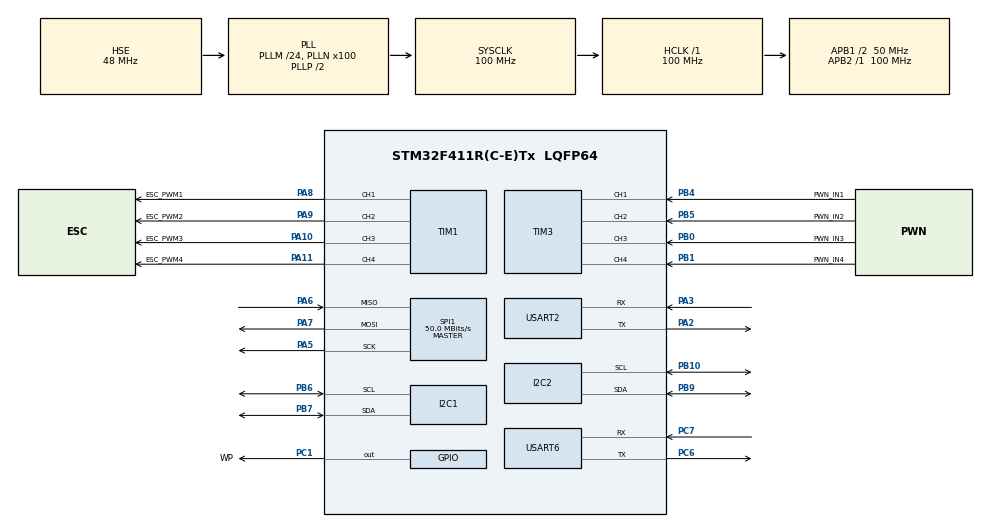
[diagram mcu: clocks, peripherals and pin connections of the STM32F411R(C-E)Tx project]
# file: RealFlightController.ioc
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Dma.Request0=TIM3_CH1/TRIG
Dma.Request1=TIM3_CH2
Dma.Request2=TIM3_CH3
Dma.Request3=TIM3_CH4/UP
Dma.TIM3_CH1/TRIG.0.Direction=DMA_PERIPH_TO_MEMORY
Dma.TIM3_CH1/TRIG.0.FIFOMode=DMA_FIFOMODE_DISABLE
Dma.TIM3_CH1/TRIG.0.Instance=DMA1_Stream4
Dma.TIM3_CH1/TRIG.0.MemDataAlignment=DMA_MDATAALIGN_HALFWORD
Dma.TIM3_CH1/TRIG.0.MemInc=DMA_MINC_ENABLE
Dma.TIM3_CH1/TRIG.0.Mode=DMA_CIRCULAR
Dma.TIM3_CH1/TRIG.0.PeriphDataAlignment=DMA_PDATAALIGN_HALFWORD
Dma.TIM3_CH1/TRIG.0.PeriphInc=DMA_PINC_DISABLE
Dma.TIM3_CH1/TRIG.0.Priority=DMA_PRIORITY_LOW
Dma.TIM3_CH2.1.Direction=DMA_PERIPH_TO_MEMORY
Dma.TIM3_CH2.1.FIFOMode=DMA_FIFOMODE_DISABLE
Dma.TIM3_CH2.1.Instance=DMA1_Stream5
Dma.TIM3_CH2.1.MemDataAlignment=DMA_MDATAALIGN_HALFWORD
Dma.TIM3_CH2.1.MemInc=DMA_MINC_ENABLE
Dma.TIM3_CH2.1.Mode=DMA_CIRCULAR
Dma.TIM3_CH2.1.PeriphDataAlignment=DMA_PDATAALIGN_HALFWORD
Dma.TIM3_CH2.1.PeriphInc=DMA_PINC_DISABLE
Dma.TIM3_CH2.1.Priority=DMA_PRIORITY_LOW
Dma.TIM3_CH3.2.Direction=DMA_PERIPH_TO_MEMORY
Dma.TIM3_CH3.2.FIFOMode=DMA_FIFOMODE_DISABLE
Dma.TIM3_CH3.2.Instance=DMA1_Stream7
Dma.TIM3_CH3.2.MemDataAlignment=DMA_MDATAALIGN_HALFWORD
Dma.TIM3_CH3.2.MemInc=DMA_MINC_ENABLE
Dma.TIM3_CH3.2.Mode=DMA_CIRCULAR
Dma.TIM3_CH3.2.PeriphDataAlignment=DMA_PDATAALIGN_HALFWORD
Dma.TIM3_CH3.2.PeriphInc=DMA_PINC_DISABLE
Dma.TIM3_CH3.2.Priority=DMA_PRIORITY_LOW
Dma.TIM3_CH4/UP.3.Direction=DMA_PERIPH_TO_MEMORY
Dma.TIM3_CH4/UP.3.FIFOMode=DMA_FIFOMODE_DISABLE
Dma.TIM3_CH4/UP.3.Instance=DMA1_Stream2
Dma.TIM3_CH4/UP.3.MemDataAlignment=DMA_MDATAALIGN_HALFWORD
Dma.TIM3_CH4/UP.3.MemInc=DMA_MINC_ENABLE
Dma.TIM3_CH4/UP.3.Mode=DMA_CIRCULAR
Dma.TIM3_CH4/UP.3.PeriphDataAlignment=DMA_PDATAALIGN_HALFWORD
Dma.TIM3_CH4/UP.3.PeriphInc=DMA_PINC_DISABLE
Dma.TIM3_CH4/UP.3.Priority=DMA_PRIORITY_LOW
I2C1.I2C_Mode=I2C_Fast
Mcu.Family=STM32F4
Mcu.Name=STM32F411R(C-E)Tx
Mcu.Package=LQFP64
NVIC.DMA1_Stream2_IRQn=true\:0\:0\:false\:false\:true\:false\:true\:true
NVIC.DMA1_Stream4_IRQn=true\:0\:0\:false\:false\:true\:false\:true\:true
NVIC.DMA1_Stream5_IRQn=true\:0\:0\:false\:false\:true\:false\:true\:true
NVIC.DMA1_Stream7_IRQn=true\:0\:0\:false\:false\:true\:false\:true\:true
NVIC.I2C1_ER_IRQn=true\:0\:0\:false\:false\:true\:true\:true\:true
NVIC.I2C1_EV_IRQn=true\:0\:0\:false\:false\:true\:true\:true\:true
NVIC.PriorityGroup=NVIC_PRIORITYGROUP_4
PA10.GPIO_Label=ESC_PWM3
PA10.Signal=S_TIM1_CH3
PA11.GPIO_Label=ESC_PWM4
PA11.Signal=S_TIM1_CH4
PA13.Mode=Trace_Asynchronous_SW
PA13.Signal=SYS_JTMS-SWDIO
PA14.Mode=Trace_Asynchronous_SW
PA14.Signal=SYS_JTCK-SWCLK
PA2.Mode=Asynchronous
PA2.Signal=USART2_TX
PA3.Mode=Asynchronous
PA3.Signal=USART2_RX
PA5.Mode=Full_Duplex_Master
PA5.Signal=SPI1_SCK
PA6.Mode=Full_Duplex_Master
PA6.Signal=SPI1_MISO
PA7.Mode=Full_Duplex_Master
PA7.Signal=SPI1_MOSI
PA8.GPIO_Label=ESC_PWM1
PA8.Signal=S_TIM1_CH1
PA9.GPIO_Label=ESC_PWM2
PA9.Signal=S_TIM1_CH2
PB0.GPIO_Label=PWN_IN3
PB0.Signal=S_TIM3_CH3
PB1.GPIO_Label=PWN_IN4
PB1.Signal=S_TIM3_CH4
PB10.Mode=I2C
PB10.Signal=I2C2_SCL
PB3.Mode=Trace_Asynchronous_SW
PB3.Signal=SYS_JTDO-SWO
PB4.GPIO_Label=PWN_IN1
PB4.Signal=S_TIM3_CH1
PB5.GPIO_Label=PWN_IN2
PB5.Signal=S_TIM3_CH2
PB6.Mode=I2C
PB6.Signal=I2C1_SCL
PB7.Mode=I2C
PB7.Signal=I2C1_SDA
PB9.Mode=I2C
PB9.Signal=I2C2_SDA
PC1.GPIO_Label=WP
PC1.Signal=GPIO_Output
PC6.Mode=Asynchronous
PC6.Signal=USART6_TX
PC7.Mode=Asynchronous
PC7.Signal=USART6_RX
PH0\ -\ OSC_IN.Mode=HSE-External-Clock-Source
PH0\ -\ OSC_IN.Signal=RCC_OSC_IN
PH1\ -\ OSC_OUT.Mode=HSE-External-Clock-Source
PH1\ -\ OSC_OUT.Signal=RCC_OSC_OUT
ProjectManager.HeapSize=0x200
ProjectManager.StackSize=0x400
ProjectManager.TargetToolchain=STM32CubeIDE
RCC.48MHZClocksFreq_Value=50000000
RCC.AHBFreq_Value=100000000
RCC.APB1CLKDivider=RCC_HCLK_DIV2
RCC.APB1Freq_Value=50000000
RCC.APB1TimFreq_Value=100000000
RCC.APB2Freq_Value=100000000
RCC.APB2TimFreq_Value=100000000
RCC.CortexFreq_Value=100000000
RCC.HCLKFreq_Value=100000000
RCC.HSE_VALUE=48000000
RCC.HSI_VALUE=16000000
RCC.LSE_VALUE=32768
RCC.PLLM=24
RCC.PLLN=100
RCC.PLLSourceVirtual=RCC_PLLSOURCE_HSE
RCC.SYSCLKFreq_VALUE=100000000
RCC.SYSCLKSource=RCC_SYSCLKSOURCE_PLLCLK
RCC.VCOOutputFreq_Value=200000000
SH.S_TIM1_CH1.0=TIM1_CH1,PWM Generation1 CH1
SH.S_TIM1_CH2.0=TIM1_CH2,PWM Generation2 CH2
SH.S_TIM1_CH3.0=TIM1_CH3,PWM Generation3 CH3
SH.S_TIM1_CH4.0=TIM1_CH4,PWM Generation4 CH4
SH.S_TIM3_CH1.0=TIM3_CH1,Input_Capture1_from_TI1
SH.S_TIM3_CH2.0=TIM3_CH2,Input_Capture2_from_TI2
SH.S_TIM3_CH3.0=TIM3_CH3,Input_Capture3_from_TI3
SH.S_TIM3_CH4.0=TIM3_CH4,Input_Capture4_from_TI4
SPI1.CalculateBaudRate=50.0 MBits/s
SPI1.Direction=SPI_DIRECTION_2LINES
SPI1.Mode=SPI_MODE_MASTER
SPI1.VirtualType=VM_MASTER
TIM1.Channel-PWM\ Generation1\ CH1=TIM_CHANNEL_1
TIM1.Channel-PWM\ Generation2\ CH2=TIM_CHANNEL_2
TIM1.Channel-PWM\ Generation3\ CH3=TIM_CHANNEL_3
TIM1.Channel-PWM\ Generation4\ CH4=TIM_CHANNEL_4
TIM3.Channel-Input_Capture1_from_TI1=TIM_CHANNEL_1
TIM3.Channel-Input_Capture2_from_TI2=TIM_CHANNEL_2
TIM3.Channel-Input_Capture3_from_TI3=TIM_CHANNEL_3
TIM3.Channel-Input_Capture4_from_TI4=TIM_CHANNEL_4
USART2.VirtualMode=VM_ASYNC
USART6.VirtualMode=VM_ASYNC
VP_TIM1_VS_ClockSourceINT.Mode=Internal
VP_TIM3_VS_ClockSourceINT.Mode=Internal
board=custom

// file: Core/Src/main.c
/* USER CODE BEGIN Header */
/**
  ******************************************************************************
  * @file           : main.c
  * @brief          : Main program body
  ******************************************************************************
  * @attention
  *
  * Copyright (c) 2024 STMicroelectronics.
  * All rights reserved.
  *
  * This software is licensed under terms that can be found in the LICENSE file
  * in the root directory of this software component.
  * If no LICENSE file comes with this software, it is provided AS-IS.
  *
  ******************************************************************************
  */
/* USER CODE END Header */
#include "main.h"

/* USER CODE BEGIN Includes */
#include "ICM20948.h"
#include "BMP280.h"
#include "math.h"
/* USER CODE END Includes */

I2C_HandleTypeDef hi2c1;
I2C_HandleTypeDef hi2c2;

SPI_HandleTypeDef hspi1;

TIM_HandleTypeDef htim1;
TIM_HandleTypeDef htim3;
DMA_HandleTypeDef hdma_tim3_ch1_trig;
DMA_HandleTypeDef hdma_tim3_ch2;
DMA_HandleTypeDef hdma_tim3_ch3;
DMA_HandleTypeDef hdma_tim3_ch4_up;

UART_HandleTypeDef huart2;
UART_HandleTypeDef huart6;

/* USER CODE BEGIN PV */
ICM20948 icm20948;
BMP280 bmp280;

typedef struct PID{
	float kp;
	float ki;
	float kd;

	float e;
	float u;

	float ePrev;
	float eIntegral;
	float dedt;

	float deltaT;

	float setPoint;
}PID;

PID Roll;
PID Pitch;
PID Yaw;
PID Alti;

float dummyRoll = 0;
float dummyPitch = 0;
float dummyYaw = 0;
float dummyAlti = 0;

uint16_t Mfr = 0;
uint16_t Mfl = 0;
uint16_t Mbr = 0;
uint16_t Mbl = 0;

uint16_t Thrust = 0;

/* USER CODE END PV */

void SystemClock_Config(void);
static void MX_GPIO_Init(void);
static void MX_DMA_Init(void);
static void MX_I2C1_Init(void);
static void MX_I2C2_Init(void);
static void MX_TIM1_Init(void);
static void MX_TIM3_Init(void);
static void MX_SPI1_Init(void);
static void MX_USART2_UART_Init(void);
static void MX_USART6_UART_Init(void);
/* USER CODE BEGIN PFP */
void PID_function(PID *Datastruct, float actual);
void MMA();

/* USER CODE END PFP */

int main(void)
{

  /* MCU Configuration--------------------------------------------------------*/

  /* Reset of all peripherals, Initializes the Flash interface and the Systick. */
  HAL_Init();

  /* Configure the system clock */
  SystemClock_Config();

  /* Initialize all configured peripherals */
  MX_GPIO_Init();
  MX_DMA_Init();
  MX_I2C1_Init();
  MX_I2C2_Init();
  MX_TIM1_Init();
  MX_TIM3_Init();
  MX_SPI1_Init();
  MX_USART2_UART_Init();
  MX_USART6_UART_Init();
  /* USER CODE BEGIN 2 */

  //initial setPoint
  Roll.setPoint = 0;
  Pitch.setPoint = 0;
  Yaw.setPoint = 0;
  Alti.setPoint = 0;

  //initial gain for all PID
  Roll.kp = 0;
  Roll.ki = 0;
  Roll.kd = 0;

  Pitch.kp = 0;
  Pitch.ki = 0;
  Pitch.kd = 0;

  Yaw.kp = 0;
  Yaw.ki = 0;
  Yaw.kd = 0;

  Alti.kp = 0;
  Alti.ki = 0;
  Alti.kd = 0;

  //initial output
  Roll.u = 0;
  Pitch.u = 0;
  Yaw.u = 0;
  Alti.u = 0;

  //initail deltaT
  Roll.deltaT = 0.001;
  Pitch.deltaT = 0.001;
  Yaw.deltaT = 0.001;
  Alti.deltaT = 0.001;

  ICM20948_init(&hi2c1);
  AK09916_init(&hi2c1);
  BMP280_init(&hi2c1);

  /* USER CODE END 2 */

  /* Infinite loop */
  while (1)
  {

    /* USER CODE BEGIN 3 */
//	  static uint32_t RollStamp = 0;
//	  static uint32_t PitchStamp = 0;
//	  static uint32_t YawStamp = 0;
//	  static uint32_t AltiStamp = 0;
//
//	  if(HAL_GetTick() >= RollStamp){
//		  RollStamp = HAL_GetTick() + 1;
//
//		  PID_function(&Roll, dummyRoll);
//	  }
//
//	  if(HAL_GetTick() >= PitchStamp){
//		  PitchStamp = HAL_GetTick() + 1;
//
//		  PID_function(&Pitch, dummyPitch);
//	  }
//
//	  if(HAL_GetTick() >= YawStamp){
//		  YawStamp = HAL_GetTick() + 1;
//
//		  PID_function(&Yaw, dummyYaw);
//	  }
//
//	  if(HAL_GetTick() >= AltiStamp){
//		  AltiStamp = HAL_GetTick() + 1;
//
//		  PID_function(&Alti, dummyAlti);
//	  }

	static uint32_t timestamp = 0;
	if (HAL_GetTick() >= timestamp) {
		timestamp = HAL_GetTick() + 1;

		ICM20948_allRead(&hi2c1, &icm20948);
		BMP280_allRead(&hi2c1, &bmp280);
	}
  }
  /* USER CODE END 3 */
}

void SystemClock_Config(void)
{
  RCC_OscInitTypeDef RCC_OscInitStruct = {0};
  RCC_ClkInitTypeDef RCC_ClkInitStruct = {0};

  /** Configure the main internal regulator output voltage
  */
  __HAL_RCC_PWR_CLK_ENABLE();
  __HAL_PWR_VOLTAGESCALING_CONFIG(PWR_REGULATOR_VOLTAGE_SCALE1);

  /** Initializes the RCC Oscillators according to the specified parameters
  * in the RCC_OscInitTypeDef structure.
  */
  RCC_OscInitStruct.OscillatorType = RCC_OSCILLATORTYPE_HSE;
  RCC_OscInitStruct.HSEState = RCC_HSE_BYPASS;
  RCC_OscInitStruct.PLL.PLLState = RCC_PLL_ON;
  RCC_OscInitStruct.PLL.PLLSource = RCC_PLLSOURCE_HSE;
  RCC_OscInitStruct.PLL.PLLM = 24;
  RCC_OscInitStruct.PLL.PLLN = 100;
  RCC_OscInitStruct.PLL.PLLP = RCC_PLLP_DIV2;
  RCC_OscInitStruct.PLL.PLLQ = 4;
  if (HAL_RCC_OscConfig(&RCC_OscInitStruct) != HAL_OK)
  {
    Error_Handler();
  }

  /** Initializes the CPU, AHB and APB buses clocks
  */
  RCC_ClkInitStruct.ClockType = RCC_CLOCKTYPE_HCLK|RCC_CLOCKTYPE_SYSCLK
                              |RCC_CLOCKTYPE_PCLK1|RCC_CLOCKTYPE_PCLK2;
  RCC_ClkInitStruct.SYSCLKSource = RCC_SYSCLKSOURCE_PLLCLK;
  RCC_ClkInitStruct.AHBCLKDivider = RCC_SYSCLK_DIV1;
  RCC_ClkInitStruct.APB1CLKDivider = RCC_HCLK_DIV2;
  RCC_ClkInitStruct.APB2CLKDivider = RCC_HCLK_DIV1;

  if (HAL_RCC_ClockConfig(&RCC_ClkInitStruct, FLASH_LATENCY_3) != HAL_OK)
  {
    Error_Handler();
  }
}

static void MX_I2C1_Init(void)
{

  hi2c1.Instance = I2C1;
  hi2c1.Init.ClockSpeed = 400000;
  hi2c1.Init.DutyCycle = I2C_DUTYCYCLE_2;
  hi2c1.Init.OwnAddress1 = 0;
  hi2c1.Init.AddressingMode = I2C_ADDRESSINGMODE_7BIT;
  hi2c1.Init.DualAddressMode = I2C_DUALADDRESS_DISABLE;
  hi2c1.Init.OwnAddress2 = 0;
  hi2c1.Init.GeneralCallMode = I2C_GENERALCALL_DISABLE;
  hi2c1.Init.NoStretchMode = I2C_NOSTRETCH_DISABLE;
  if (HAL_I2C_Init(&hi2c1) != HAL_OK)
  {
    Error_Handler();
  }

}

static void MX_I2C2_Init(void)
{

  hi2c2.Instance = I2C2;
  hi2c2.Init.ClockSpeed = 100000;
  hi2c2.Init.DutyCycle = I2C_DUTYCYCLE_2;
  hi2c2.Init.OwnAddress1 = 0;
  hi2c2.Init.AddressingMode = I2C_ADDRESSINGMODE_7BIT;
  hi2c2.Init.DualAddressMode = I2C_DUALADDRESS_DISABLE;
  hi2c2.Init.OwnAddress2 = 0;
  hi2c2.Init.GeneralCallMode = I2C_GENERALCALL_DISABLE;
  hi2c2.Init.NoStretchMode = I2C_NOSTRETCH_DISABLE;
  if (HAL_I2C_Init(&hi2c2) != HAL_OK)
  {
    Error_Handler();
  }

}

static void MX_SPI1_Init(void)
{

  /* SPI1 parameter configuration*/
  hspi1.Instance = SPI1;
  hspi1.Init.Mode = SPI_MODE_MASTER;
  hspi1.Init.Direction = SPI_DIRECTION_2LINES;
  hspi1.Init.DataSize = SPI_DATASIZE_8BIT;
  hspi1.Init.CLKPolarity = SPI_POLARITY_LOW;
  hspi1.Init.CLKPhase = SPI_PHASE_1EDGE;
  hspi1.Init.NSS = SPI_NSS_SOFT;
  hspi1.Init.BaudRatePrescaler = SPI_BAUDRATEPRESCALER_2;
  hspi1.Init.FirstBit = SPI_FIRSTBIT_MSB;
  hspi1.Init.TIMode = SPI_TIMODE_DISABLE;
  hspi1.Init.CRCCalculation = SPI_CRCCALCULATION_DISABLE;
  hspi1.Init.CRCPolynomial = 10;
  if (HAL_SPI_Init(&hspi1) != HAL_OK)
  {
    Error_Handler();
  }

}

static void MX_TIM1_Init(void)
{

  TIM_ClockConfigTypeDef sClockSourceConfig = {0};
  TIM_MasterConfigTypeDef sMasterConfig = {0};
  TIM_OC_InitTypeDef sConfigOC = {0};
  TIM_BreakDeadTimeConfigTypeDef sBreakDeadTimeConfig = {0};

  htim1.Instance = TIM1;
  htim1.Init.Prescaler = 0;
  htim1.Init.CounterMode = TIM_COUNTERMODE_UP;
  htim1.Init.Period = 65535;
  htim1.Init.ClockDivision = TIM_CLOCKDIVISION_DIV1;
  htim1.Init.RepetitionCounter = 0;
  htim1.Init.AutoReloadPreload = TIM_AUTORELOAD_PRELOAD_DISABLE;
  if (HAL_TIM_Base_Init(&htim1) != HAL_OK)
  {
    Error_Handler();
  }
  sClockSourceConfig.ClockSource = TIM_CLOCKSOURCE_INTERNAL;
  if (HAL_TIM_ConfigClockSource(&htim1, &sClockSourceConfig) != HAL_OK)
  {
    Error_Handler();
  }
  if (HAL_TIM_PWM_Init(&htim1) != HAL_OK)
  {
    Error_Handler();
  }
  sMasterConfig.MasterOutputTrigger = TIM_TRGO_RESET;
  sMasterConfig.MasterSlaveMode = TIM_MASTERSLAVEMODE_DISABLE;
  if (HAL_TIMEx_MasterConfigSynchronization(&htim1, &sMasterConfig) != HAL_OK)
  {
    Error_Handler();
  }
  sConfigOC.OCMode = TIM_OCMODE_PWM1;
  sConfigOC.Pulse = 0;
  sConfigOC.OCPolarity = TIM_OCPOLARITY_HIGH;
  sConfigOC.OCNPolarity = TIM_OCNPOLARITY_HIGH;
  sConfigOC.OCFastMode = TIM_OCFAST_DISABLE;
  sConfigOC.OCIdleState = TIM_OCIDLESTATE_RESET;
  sConfigOC.OCNIdleState = TIM_OCNIDLESTATE_RESET;
  if (HAL_TIM_PWM_ConfigChannel(&htim1, &sConfigOC, TIM_CHANNEL_1) != HAL_OK)
  {
    Error_Handler();
  }
  if (HAL_TIM_PWM_ConfigChannel(&htim1, &sConfigOC, TIM_CHANNEL_2) != HAL_OK)
  {
    Error_Handler();
  }
  if (HAL_TIM_PWM_ConfigChannel(&htim1, &sConfigOC, TIM_CHANNEL_3) != HAL_OK)
  {
    Error_Handler();
  }
  if (HAL_TIM_PWM_ConfigChannel(&htim1, &sConfigOC, TIM_CHANNEL_4) != HAL_OK)
  {
    Error_Handler();
  }
  sBreakDeadTimeConfig.OffStateRunMode = TIM_OSSR_DISABLE;
  sBreakDeadTimeConfig.OffStateIDLEMode = TIM_OSSI_DISABLE;
  sBreakDeadTimeConfig.LockLevel = TIM_LOCKLEVEL_OFF;
  sBreakDeadTimeConfig.DeadTime = 0;
  sBreakDeadTimeConfig.BreakState = TIM_BREAK_DISABLE;
  sBreakDeadTimeConfig.BreakPolarity = TIM_BREAKPOLARITY_HIGH;
  sBreakDeadTimeConfig.AutomaticOutput = TIM_AUTOMATICOUTPUT_DISABLE;
  if (HAL_TIMEx_ConfigBreakDeadTime(&htim1, &sBreakDeadTimeConfig) != HAL_OK)
  {
    Error_Handler();
  }
  HAL_TIM_MspPostInit(&htim1);

}

static void MX_TIM3_Init(void)
{

  TIM_ClockConfigTypeDef sClockSourceConfig = {0};
  TIM_MasterConfigTypeDef sMasterConfig = {0};
  TIM_IC_InitTypeDef sConfigIC = {0};

  htim3.Instance = TIM3;
  htim3.Init.Prescaler = 0;
  htim3.Init.CounterMode = TIM_COUNTERMODE_UP;
  htim3.Init.Period = 65535;
  htim3.Init.ClockDivision = TIM_CLOCKDIVISION_DIV1;
  htim3.Init.AutoReloadPreload = TIM_AUTORELOAD_PRELOAD_DISABLE;
  if (HAL_TIM_Base_Init(&htim3) != HAL_OK)
  {
    Error_Handler();
  }
  sClockSourceConfig.ClockSource = TIM_CLOCKSOURCE_INTERNAL;
  if (HAL_TIM_ConfigClockSource(&htim3, &sClockSourceConfig) != HAL_OK)
  {
    Error_Handler();
  }
  if (HAL_TIM_IC_Init(&htim3) != HAL_OK)
  {
    Error_Handler();
  }
  sMasterConfig.MasterOutputTrigger = TIM_TRGO_RESET;
  sMasterConfig.MasterSlaveMode = TIM_MASTERSLAVEMODE_DISABLE;
  if (HAL_TIMEx_MasterConfigSynchronization(&htim3, &sMasterConfig) != HAL_OK)
  {
    Error_Handler();
  }
  sConfigIC.ICPolarity = TIM_INPUTCHANNELPOLARITY_RISING;
  sConfigIC.ICSelection = TIM_ICSELECTION_DIRECTTI;
  sConfigIC.ICPrescaler = TIM_ICPSC_DIV1;
  sConfigIC.ICFilter = 0;
  if (HAL_TIM_IC_ConfigChannel(&htim3, &sConfigIC, TIM_CHANNEL_1) != HAL_OK)
  {
    Error_Handler();
  }
  if (HAL_TIM_IC_ConfigChannel(&htim3, &sConfigIC, TIM_CHANNEL_2) != HAL_OK)
  {
    Error_Handler();
  }
  if (HAL_TIM_IC_ConfigChannel(&htim3, &sConfigIC, TIM_CHANNEL_3) != HAL_OK)
  {
    Error_Handler();
  }
  if (HAL_TIM_IC_ConfigChannel(&htim3, &sConfigIC, TIM_CHANNEL_4) != HAL_OK)
  {
    Error_Handler();
  }

}

static void MX_USART2_UART_Init(void)
{

  huart2.Instance = USART2;
  huart2.Init.BaudRate = 115200;
  huart2.Init.WordLength = UART_WORDLENGTH_8B;
  huart2.Init.StopBits = UART_STOPBITS_1;
  huart2.Init.Parity = UART_PARITY_NONE;
  huart2.Init.Mode = UART_MODE_TX_RX;
  huart2.Init.HwFlowCtl = UART_HWCONTROL_NONE;
  huart2.Init.OverSampling = UART_OVERSAMPLING_16;
  if (HAL_UART_Init(&huart2) != HAL_OK)
  {
    Error_Handler();
  }

}

static void MX_USART6_UART_Init(void)
{

  huart6.Instance = USART6;
  huart6.Init.BaudRate = 115200;
  huart6.Init.WordLength = UART_WORDLENGTH_8B;
  huart6.Init.StopBits = UART_STOPBITS_1;
  huart6.Init.Parity = UART_PARITY_NONE;
  huart6.Init.Mode = UART_MODE_TX_RX;
  huart6.Init.HwFlowCtl = UART_HWCONTROL_NONE;
  huart6.Init.OverSampling = UART_OVERSAMPLING_16;
  if (HAL_UART_Init(&huart6) != HAL_OK)
  {
    Error_Handler();
  }

}

static void MX_DMA_Init(void)
{

  /* DMA controller clock enable */
  __HAL_RCC_DMA1_CLK_ENABLE();

  /* DMA interrupt init */
  /* DMA1_Stream2_IRQn interrupt configuration */
  HAL_NVIC_SetPriority(DMA1_Stream2_IRQn, 0, 0);
  HAL_NVIC_EnableIRQ(DMA1_Stream2_IRQn);
  /* DMA1_Stream4_IRQn interrupt configuration */
  HAL_NVIC_SetPriority(DMA1_Stream4_IRQn, 0, 0);
  HAL_NVIC_EnableIRQ(DMA1_Stream4_IRQn);
  /* DMA1_Stream5_IRQn interrupt configuration */
  HAL_NVIC_SetPriority(DMA1_Stream5_IRQn, 0, 0);
  HAL_NVIC_EnableIRQ(DMA1_Stream5_IRQn);
  /* DMA1_Stream7_IRQn interrupt configuration */
  HAL_NVIC_SetPriority(DMA1_Stream7_IRQn, 0, 0);
  HAL_NVIC_EnableIRQ(DMA1_Stream7_IRQn);

}

static void MX_GPIO_Init(void)
{
  GPIO_InitTypeDef GPIO_InitStruct = {0};

  /* GPIO Ports Clock Enable */
  __HAL_RCC_GPIOH_CLK_ENABLE();
  __HAL_RCC_GPIOC_CLK_ENABLE();
  __HAL_RCC_GPIOA_CLK_ENABLE();
  __HAL_RCC_GPIOB_CLK_ENABLE();

  /*Configure GPIO pin Output Level */
  HAL_GPIO_WritePin(WP_GPIO_Port, WP_Pin, GPIO_PIN_RESET);

  /*Configure GPIO pin : WP_Pin */
  GPIO_InitStruct.Pin = WP_Pin;
  GPIO_InitStruct.Mode = GPIO_MODE_OUTPUT_PP;
  GPIO_InitStruct.Pull = GPIO_NOPULL;
  GPIO_InitStruct.Speed = GPIO_SPEED_FREQ_LOW;
  HAL_GPIO_Init(WP_GPIO_Port, &GPIO_InitStruct);

}

/* USER CODE BEGIN 4 */
//void PID_function(PID *Datastruct, float actual){
//
//	//error
//	Datastruct->e = Datastruct->setPoint - actual;
//
//	//Derivertive
//	Datastruct->dedt = (Datastruct->e - Datastruct->ePrev) / Datastruct->deltaT;
//
//	//Integral
//	Datastruct->eIntegral = Datastruct->eIntegral + (Datastruct->e * Datastruct->deltaT);
//
//	//output
//	Datastruct->u = (Datastruct->kp * Datastruct->e) + (Datastruct->kd * Datastruct->dedt) + (Datastruct->ki * Datastruct->eIntegral);
//
//	//update error
//	Datastruct->ePrev = Datastruct->e;
//}
//
//void MMA(){
//	Mfr = Thrust + Yaw.u + Pitch.u + Roll.u;
//	Mfl = Thrust - Yaw.u + Pitch.u - Roll.u;
//	Mbr = Thrust - Yaw.u - Pitch.u + Roll.u;
//	Mbl = Thrust + Yaw.u - Picth.u - Roll.u;
//}

/* USER CODE END 4 */

void Error_Handler(void)
{
  __disable_irq();
  while (1)
  {
  }
}
